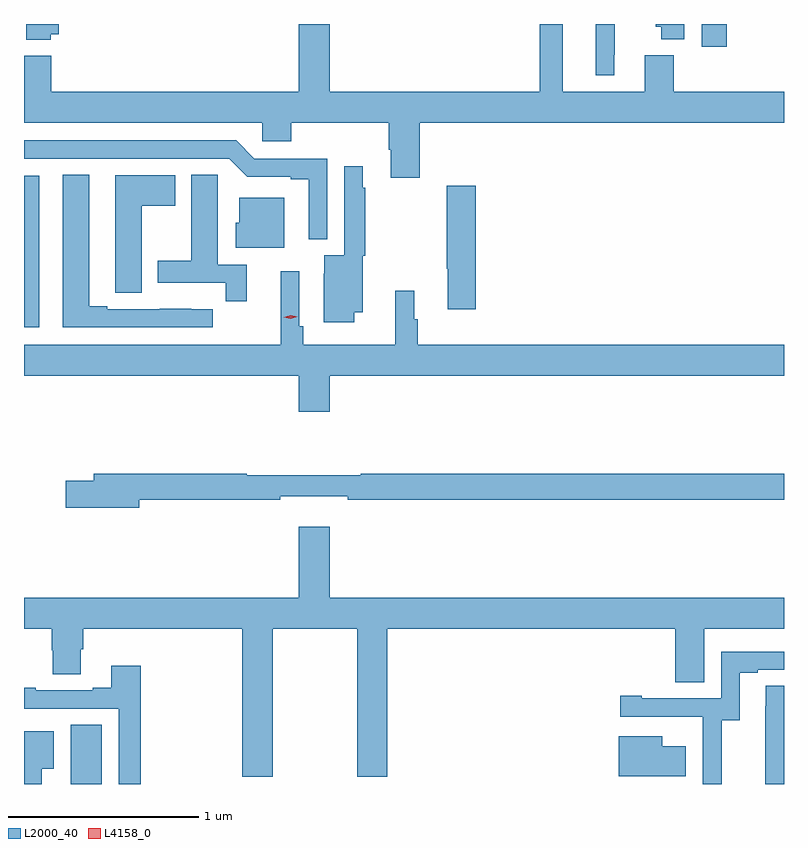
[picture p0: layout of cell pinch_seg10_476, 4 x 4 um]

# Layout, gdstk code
import gdstk
lib = gdstk.Library(unit=1e-6, precision=1e-09)
def R(c, l, rs):  # rectangles x0, y0, x1, y1
    for r in rs: c.add(gdstk.rectangle(r[:2], r[2:], *l))
def P(c, l, *ps):  # polygons
    for p in ps: c.add(gdstk.Polygon(p, *l))
L2000_40 = (2000, 40)
L4158_0 = (4158, 0)

pinch_seg10_476 = lib.new_cell('pinch_seg10_476')
R(pinch_seg10_476, L2000_40, [(187.784,1291.508,187.948,1291.82), (187.539,1293.912,187.618,1294.71), (191.105,1295.388,191.237,1295.508)])
P(pinch_seg10_476, L2000_40, [(191.014,1295.508),(190.865,1295.508),(190.865,1295.493),(190.892,1295.493),(190.892,1295.429),(191.014,1295.429)],
  [(187.68,1295.453),(187.723,1295.453),(187.723,1295.508),(187.55,1295.508),(187.55,1295.426),(187.68,1295.426)],
  [(190.645,1295.347),(190.649,1295.347),(190.649,1295.508),(190.548,1295.508),(190.548,1295.498),(190.547,1295.498),(190.547,1295.237),(190.645,1295.237)],
  [(189.623,1294.988),(191.539,1294.988),(191.539,1295.152),(190.958,1295.152),(190.958,1295.344),(190.805,1295.344),(190.805,1295.152),(190.375,1295.152),(190.375,1295.508),(190.253,1295.508),(190.253,1295.152),(189.148,1295.152),(189.148,1295.508),(188.984,1295.508),(188.984,1295.152),(187.682,1295.152),(187.682,1295.341),(187.539,1295.341),(187.539,1294.988),(188.793,1294.988),(188.793,1294.89),(188.945,1294.89),(188.945,1294.988),(189.458,1294.988),(189.458,1294.846),(189.47,1294.846),(189.47,1294.698),(189.623,1294.698)],
  [(189.135,1294.8),(188.751,1294.8),(188.655,1294.896),(187.539,1294.896),(187.539,1294.8),(188.619,1294.8),(188.715,1294.704),(188.942,1294.704),(188.942,1294.692),(189.038,1294.692),(189.038,1294.376),(189.135,1294.376)],
  [(189.277,1293.992),(189.322,1293.992),(189.322,1294.287),(189.334,1294.287),(189.334,1294.646),(189.322,1294.646),(189.322,1294.759),(189.225,1294.759),(189.225,1294.291),(189.119,1294.291),(189.119,1294.194),(189.116,1294.194),(189.116,1293.939),(189.277,1293.939)],
  [(188.533,1294.008),(188.42,1294.008),(188.42,1294.009),(188.254,1294.009),(188.254,1294.008),(187.978,1294.008),(187.978,1294.023),(187.882,1294.023),(187.882,1294.715),(187.742,1294.715),(187.742,1293.912),(188.533,1293.912)],
  [(188.711,1294.242),(188.56,1294.242),(188.56,1294.604),(188.559,1294.604),(188.559,1294.715),(188.42,1294.715),(188.42,1294.263),(188.243,1294.263),(188.243,1294.146),(188.602,1294.146),(188.602,1294.05),(188.711,1294.05)],
  [(188.158,1294.552),(188.335,1294.552),(188.335,1294.711),(188.018,1294.711),(188.018,1294.201),(188.019,1294.201),(188.019,1294.093),(188.158,1294.093)],
  [(189.917,1294.657),(189.763,1294.657),(189.763,1294.22),(189.77,1294.22),(189.77,1294.008),(189.917,1294.008)],
  [(188.908,1294.594),(188.672,1294.594),(188.672,1294.461),(188.654,1294.461),(188.654,1294.331),(188.908,1294.331)],
  [(189.148,1293.656),(191.539,1293.656),(191.539,1293.82),(189.611,1293.82),(189.611,1293.954),(189.592,1293.954),(189.592,1294.105),(189.494,1294.105),(189.494,1293.82),(189.008,1293.82),(189.008,1293.916),(188.988,1293.916),(188.988,1294.207),(188.891,1294.207),(188.891,1293.82),(187.539,1293.82),(187.539,1293.656),(188.984,1293.656),(188.984,1293.468),(189.148,1293.468)],
  [(188.146,1293.004),(188.888,1293.004),(188.888,1293.023),(189.244,1293.023),(189.244,1293.004),(191.539,1293.004),(191.539,1293.14),(189.311,1293.14),(189.311,1293.133),(188.711,1293.133),(188.711,1293.14),(187.907,1293.14),(187.907,1293.104),(187.758,1293.104),(187.758,1292.962),(188.146,1292.962)],
  [(188.847,1292.324),(189.292,1292.324),(189.292,1291.545),(189.452,1291.545),(189.452,1292.324),(190.967,1292.324),(190.967,1292.044),(191.119,1292.044),(191.119,1292.324),(191.539,1292.324),(191.539,1292.488),(189.148,1292.488),(189.148,1292.863),(188.984,1292.863),(188.984,1292.488),(187.539,1292.488),(187.539,1292.324),(187.685,1292.324),(187.685,1292.211),(187.69,1292.211),(187.69,1292.086),(187.837,1292.086),(187.837,1292.218),(187.85,1292.218),(187.85,1292.324),(188.687,1292.324),(188.687,1291.545),(188.847,1291.545)],
  [(191.211,1291.843),(191.305,1291.843),(191.305,1292.094),(191.401,1292.094),(191.401,1292.109),(191.539,1292.109),(191.539,1292.205),(191.208,1292.205),(191.208,1291.959),(190.789,1291.959),(190.789,1291.972),(190.677,1291.972),(190.677,1291.863),(191.111,1291.863),(191.111,1291.862),(191.112,1291.862),(191.112,1291.508),(191.211,1291.508)],
  [(188.153,1292.131),(187.997,1292.131),(187.997,1292.014),(187.901,1292.014),(187.901,1292.001),(187.601,1292.001),(187.601,1292.014),(187.539,1292.014),(187.539,1291.905),(188.037,1291.905),(188.037,1291.508),(188.153,1291.508)],
  [(191.539,1292.024),(191.442,1292.024),(191.442,1291.916),(191.441,1291.916),(191.441,1291.508),(191.539,1291.508)],
  [(187.633,1291.589),(187.696,1291.589),(187.696,1291.786),(187.539,1291.786),(187.539,1291.508),(187.633,1291.508)],
  [(191.023,1291.708),(190.897,1291.708),(190.897,1291.759),(190.67,1291.759),(190.67,1291.55),(191.023,1291.55)])
P(pinch_seg10_476, L4158_0, [(188.942,1293.956),(188.906,1293.965),(188.906,1293.965),(188.906,1293.965),(188.942,1293.976),(188.978,1293.968),(188.978,1293.967),(188.978,1293.967)])

lib.write_gds('pinch_seg10_476.gds')
